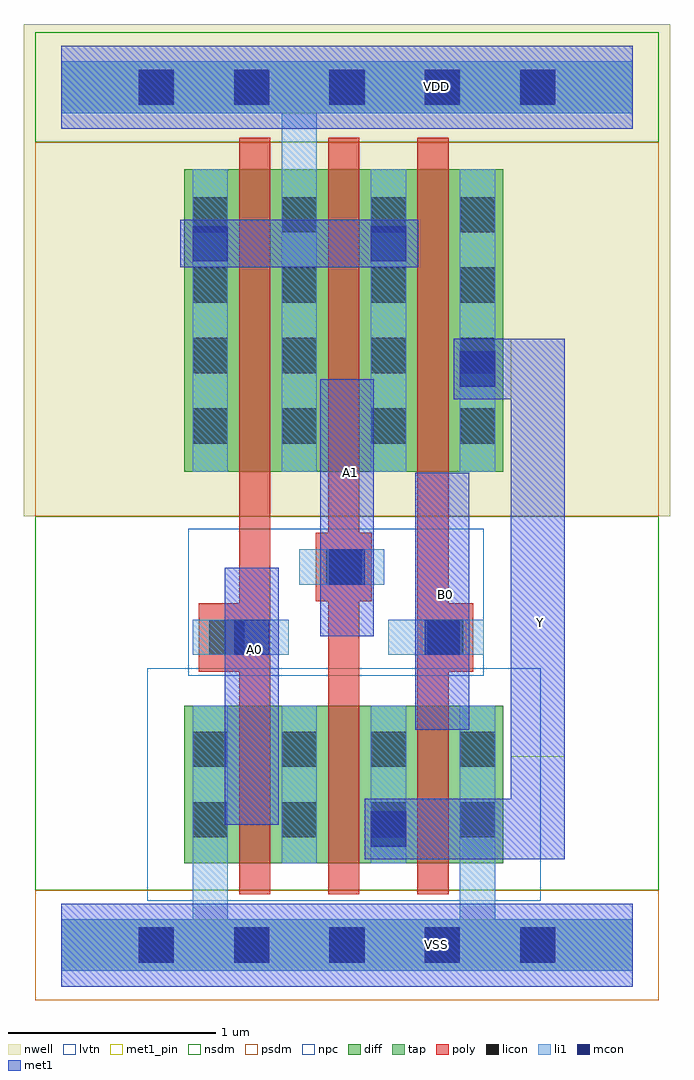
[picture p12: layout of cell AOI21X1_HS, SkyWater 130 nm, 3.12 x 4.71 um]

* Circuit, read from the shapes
.subckt AOI21X1_HS A0 A1 B0 VDD VSS Y
XM1 n1 A0 VSS VSS sky130_fd_pr__nfet_01v8_lvt w=0.76 l=0.15
XM2 Y A1 n1 VSS sky130_fd_pr__nfet_01v8_lvt w=0.76 l=0.15
XM3 VSS B0 Y VSS sky130_fd_pr__nfet_01v8_lvt w=0.76 l=0.15
XM4 VDD A0 n2 VDD sky130_fd_pr__pfet_01v8 w=1.46 l=0.15
XM5 n2 A1 VDD VDD sky130_fd_pr__pfet_01v8 w=1.46 l=0.15
XM6 Y B0 n2 VDD sky130_fd_pr__pfet_01v8 w=1.46 l=0.15
.ends

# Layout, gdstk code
import gdstk
lib = gdstk.Library(unit=1e-6, precision=1e-09)
def R(c, l, rs):  # rectangles x0, y0, x1, y1
    for r in rs: c.add(gdstk.rectangle(r[:2], r[2:], *l))
def A(c, l, x, y, w, h, nx, ny, dx, dy):  # array of equal rectangles
    R(c, l, [(x+i*dx, y+j*dy, x+i*dx+w, y+j*dy+h) for i in range(nx) for j in range(ny)])
def P(c, l, *ps):  # polygons
    for p in ps: c.add(gdstk.Polygon(p, *l))
nwell = (64, 20)
diff = (65, 20)
tap = (65, 44)
poly = (66, 20)
licon = (66, 44)
li1 = (67, 20)
mcon = (67, 44)
met1_pin = (68, 16)
met1 = (68, 20)
nsdm = (93, 44)
psdm = (94, 20)
npc = (95, 20)
lvtn = (125, 44)

l1m1_c_cdns_752016586812 = lib.new_cell('L1M1_C_CDNS_752016586812')
R(l1m1_c_cdns_752016586812, li1, [(-0.085,-0.165,0.085,0.165)])
R(l1m1_c_cdns_752016586812, mcon, [(-0.085,-0.085,0.085,0.085)])
R(l1m1_c_cdns_752016586812, met1, [(-0.115,-0.145,0.115,0.145)])

l1m1_c_cdns_752016586814 = lib.new_cell('L1M1_C_CDNS_752016586814')
R(l1m1_c_cdns_752016586814, li1, [(-0.085,-0.165,0.085,0.165)])
R(l1m1_c_cdns_752016586814, mcon, [(-0.085,-0.085,0.085,0.085)])
R(l1m1_c_cdns_752016586814, met1, [(-0.145,-0.115,0.145,0.115)])

pyl1con_c_cdns_752016586 = lib.new_cell('PYL1CON_C_CDNS_752016586813')
R(pyl1con_c_cdns_752016586, poly, [(-0.135,-0.165,0.135,0.165)])
R(pyl1con_c_cdns_752016586, licon, [(-0.085,-0.085,0.085,0.085)])
R(pyl1con_c_cdns_752016586, npc, [(-0.185,-0.185,0.185,0.185)])

l1m1_c_cdns_752016586811 = lib.new_cell('L1M1_C_CDNS_752016586811')
R(l1m1_c_cdns_752016586811, li1, [(-0.165,-0.085,0.165,0.085)])
R(l1m1_c_cdns_752016586811, mcon, [(-0.085,-0.085,0.085,0.085)])
R(l1m1_c_cdns_752016586811, met1, [(-0.115,-0.145,0.115,0.145)])

aoi21x1_hs = lib.new_cell('AOI21X1_HS')
R(aoi21x1_hs, nwell, [(-0.18,2.07,2.94,4.445)])
R(aoi21x1_hs, diff, [(0.595,0.395,2.135,1.155), (0.595,2.285,2.135,3.745)])
A(aoi21x1_hs, poly, 0.86, 0.245, 0.15, 3.65, 3, 1, 0.43, 0)
A(aoi21x1_hs, licon, 0.375, -0.085, 0.17, 0.17, 5, 2, 0.46, 4.14)
A(aoi21x1_hs, licon, 0.635, 0.52, 0.17, 0.17, 4, 2, 0.43, 0.34)
A(aoi21x1_hs, licon, 0.635, 2.42, 0.17, 0.17, 4, 4, 0.43, 0.34)
R(aoi21x1_hs, li1, [(1.495,0.395,1.665,1.155), (0.635,2.285,0.805,3.745), (1.495,2.285,1.665,3.745), (1.925,2.285,2.095,3.745)])
P(aoi21x1_hs, li1, [(2.76,4.265),(0,4.265),(0,4.015),(1.065,4.015),(1.065,2.285),(1.235,2.285),(1.235,4.015),(2.76,4.015)],
  [(2.76,0.125),(2.095,0.125),(2.095,1.155),(1.925,1.155),(1.925,0.125),(0.805,0.125),(0.805,1.155),(0.635,1.155),(0.635,0.125),(0,0.125),(0,-0.125),(2.76,-0.125)])
A(aoi21x1_hs, mcon, 0.375, -0.085, 0.17, 0.17, 5, 2, 0.46, 4.14)
R(aoi21x1_hs, met1_pin, [(0.79,0.58,1.05,1.82), (2.17,0.91,2.43,2.925), (1.71,1.04,1.97,2.28), (1.25,1.49,1.51,2.73)])
P(aoi21x1_hs, met1, [(2.43,2.925),(2.01,2.925),(2.01,2.635),(2.17,2.635),(2.17,0.705),(1.465,0.705),(1.465,0.415),(2.43,0.415)])
R(aoi21x1_hs, nsdm, [(-0.125,0.265,2.885,2.07), (-0.125,3.875,2.885,4.405)])
R(aoi21x1_hs, psdm, [(-0.125,-0.265,2.885,0.265), (-0.125,2.07,2.885,3.875)])
R(aoi21x1_hs, npc, [(0.615,1.3,2.04,2.01)])
R(aoi21x1_hs, lvtn, [(0.415,0.215,2.315,1.335)])
aoi21x1_hs.add(gdstk.FlexPath([(0.635,1.485),(1.1,1.485)], 0.17, ends="flush", simple_path=True, layer=67, datatype=20))  # li1
aoi21x1_hs.add(gdstk.FlexPath([(1.58,1.485),(2.04,1.485)], 0.17, ends="flush", simple_path=True, layer=67, datatype=20))  # li1
aoi21x1_hs.add(gdstk.FlexPath([(1.15,1.825),(1.56,1.825)], 0.17, ends="flush", simple_path=True, layer=67, datatype=20))  # li1
aoi21x1_hs.add(gdstk.FlexPath([(1.15,0.395),(1.15,1.155)], 0.17, ends="flush", simple_path=True, layer=67, datatype=20))  # li1
aoi21x1_hs.add(gdstk.FlexPath([(0,4.14),(2.76,4.14)], 0.4, ends="flush", simple_path=True, layer=68, datatype=16))  # met1_pin
aoi21x1_hs.add(gdstk.FlexPath([(0,0),(2.76,0)], 0.4, ends="flush", simple_path=True, layer=68, datatype=16))  # met1_pin
aoi21x1_hs.add(gdstk.FlexPath([(0,4.14),(2.76,4.14)], 0.4, ends="flush", simple_path=True, layer=68, datatype=20))  # met1
aoi21x1_hs.add(gdstk.FlexPath([(0,0),(2.76,0)], 0.4, ends="flush", simple_path=True, layer=68, datatype=20))  # met1
aoi21x1_hs.add(gdstk.FlexPath([(0.92,1.82),(0.92,0.58)], 0.26, ends="flush", simple_path=True, layer=68, datatype=20))  # met1
aoi21x1_hs.add(gdstk.FlexPath([(1.38,1.49),(1.38,2.73)], 0.26, ends="flush", simple_path=True, layer=68, datatype=20))  # met1
aoi21x1_hs.add(gdstk.FlexPath([(1.84,2.28),(1.84,1.04)], 0.26, ends="flush", simple_path=True, layer=68, datatype=20))  # met1
aoi21x1_hs.add(gdstk.FlexPath([(0.865,3.385),(1.435,3.385)], 0.23, ends="flush", simple_path=True, layer=68, datatype=20))  # met1
aoi21x1_hs.add(gdstk.FlexPath([(0,4.14),(2.76,4.14)], 0.25, ends="flush", simple_path=True, layer=65, datatype=44))  # tap
aoi21x1_hs.add(gdstk.FlexPath([(0,0),(2.76,0)], 0.25, ends="flush", simple_path=True, layer=65, datatype=44))  # tap
aoi21x1_hs.add(gdstk.Reference(l1m1_c_cdns_752016586812, (2.01,2.78)))
aoi21x1_hs.add(gdstk.Reference(l1m1_c_cdns_752016586812, (1.58,0.56)))
aoi21x1_hs.add(gdstk.Reference(l1m1_c_cdns_752016586814, (1.58,3.385)))
aoi21x1_hs.add(gdstk.Reference(l1m1_c_cdns_752016586814, (0.72,3.385)))
aoi21x1_hs.add(gdstk.Reference(pyl1con_c_cdns_752016586, (1.365,1.825)))
aoi21x1_hs.add(gdstk.Reference(pyl1con_c_cdns_752016586, (0.8,1.485)))
aoi21x1_hs.add(gdstk.Reference(pyl1con_c_cdns_752016586, (1.855,1.485)))
aoi21x1_hs.add(gdstk.Reference(l1m1_c_cdns_752016586811, (1.38,1.825), x_reflection=True))
aoi21x1_hs.add(gdstk.Reference(l1m1_c_cdns_752016586811, (0.92,1.485)))
aoi21x1_hs.add(gdstk.Reference(l1m1_c_cdns_752016586811, (1.84,1.485)))
aoi21x1_hs.add(gdstk.Label('A0', (0.935,1.425), layer=68, texttype=5))
aoi21x1_hs.add(gdstk.Label('A1', (1.395,2.28), layer=68, texttype=5))
aoi21x1_hs.add(gdstk.Label('Y', (2.315,1.555), layer=68, texttype=5))
aoi21x1_hs.add(gdstk.Label('B0', (1.855,1.69), layer=68, texttype=5))
aoi21x1_hs.add(gdstk.Label('VSS', (1.81,0.005), layer=68, texttype=5))
aoi21x1_hs.add(gdstk.Label('VDD', (1.81,4.145), layer=68, texttype=5))

lib.write_gds('AOI21X1_HS.gds')
